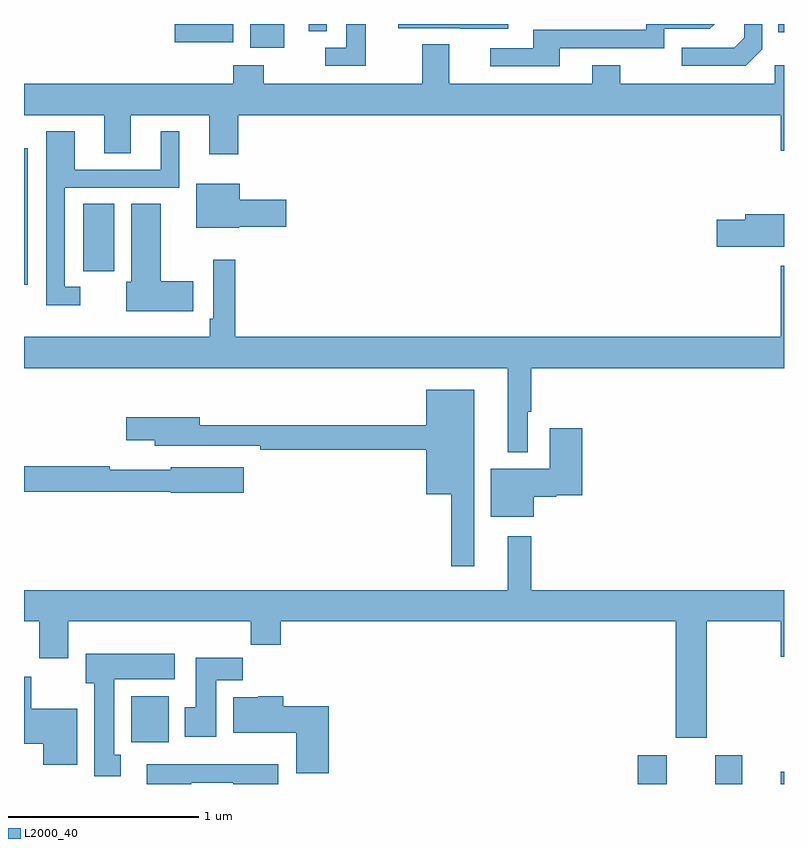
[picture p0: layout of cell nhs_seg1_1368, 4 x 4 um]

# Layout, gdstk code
import gdstk
lib = gdstk.Library(unit=1e-6, precision=1e-09)
def R(c, l, rs):  # rectangles x0, y0, x1, y1
    for r in rs: c.add(gdstk.rectangle(r[:2], r[2:], *l))
def P(c, l, *ps):  # polygons
    for p in ps: c.add(gdstk.Polygon(p, *l))
L2000_40 = (2000, 40)

nhs_seg1_1368 = lib.new_cell('nhs_seg1_1368')
R(nhs_seg1_1368, L2000_40, [(188.231,560.199,188.383,560.35), (188.639,560.199,188.779,560.35), (188.984,560.199,189,560.263), (185.564,560.42,185.761,560.662), (185,562.827,185.02,563.545), (185.312,562.899,185.476,563.252), (186.191,564.074,186.37,564.199), (185.793,564.103,186.102,564.199), (188.971,564.155,189,564.199), (186.498,564.16,186.594,564.199)])
P(nhs_seg1_1368, L2000_40, [(188.886,564.066),(188.886,564.199),(188.79,564.199),(188.79,564.126),(188.739,564.075),(188.463,564.075),(188.463,563.979),(188.799,563.979)],
  [(186.799,564.199),(186.695,564.199),(186.695,564.075),(186.585,564.075),(186.585,563.979),(186.799,563.979)],
  [(187.549,564.199),(186.971,564.199),(186.971,564.177),(187.295,564.177),(187.295,564.173),(187.549,564.173)],
  [(187.819,564.072),(188.37,564.072),(188.37,564.174),(188.61,564.174),(188.635,564.199),(188.274,564.199),(188.274,564.168),(187.679,564.168),(187.679,564.072),(187.455,564.072),(187.455,563.976),(187.819,563.976)],
  [(186.128,563.72),(188.984,563.72),(188.984,563.532),(189,563.532),(189,563.983),(188.952,563.983),(188.952,563.884),(188.139,563.884),(188.139,563.983),(187.991,563.983),(187.991,563.884),(187.237,563.884),(187.237,564.092),(187.097,564.092),(187.097,563.884),(186.261,563.884),(186.261,563.983),(186.101,563.983),(186.101,563.884),(185,563.884),(185,563.72),(185.423,563.72),(185.423,563.518),(185.563,563.518),(185.563,563.72),(185.975,563.72),(185.975,563.514),(186.128,563.514)],
  [(185.296,562.815),(185.214,562.815),(185.214,563.337),(185.818,563.337),(185.818,563.635),(185.72,563.635),(185.72,563.433),(185.266,563.433),(185.266,563.635),(185.118,563.635),(185.118,562.718),(185.296,562.718)],
  [(186.132,563.132),(186.379,563.132),(186.379,563.274),(186.136,563.274),(186.136,563.359),(185.906,563.359),(185.906,563.126),(186.132,563.126)],
  [(185.89,562.846),(185.719,562.846),(185.719,563.252),(185.564,563.252),(185.564,562.842),(185.537,562.842),(185.537,562.688),(185.89,562.688)],
  [(189,563.197),(188.795,563.197),(188.795,563.168),(188.646,563.168),(188.646,563.026),(189,563.026)],
  [(187.651,562.159),(187.669,562.159),(187.669,562.388),(189,562.388),(189,562.927),(188.984,562.927),(188.984,562.552),(186.113,562.552),(186.113,562.957),(185.997,562.957),(185.997,562.648),(185.977,562.648),(185.977,562.552),(185,562.552),(185,562.388),(187.547,562.388),(187.547,561.944),(187.651,561.944)],
  [(187.369,562.273),(187.118,562.273),(187.118,562.087),(185.926,562.087),(185.926,562.129),(185.538,562.129),(185.538,562.007),(185.687,562.007),(185.687,561.978),(186.244,561.978),(186.244,561.958),(187.118,561.958),(187.118,561.725),(187.248,561.725),(187.248,561.345),(187.369,561.345)],
  [(187.684,561.712),(187.8,561.712),(187.8,561.719),(187.937,561.719),(187.937,562.072),(187.766,562.072),(187.766,561.859),(187.457,561.859),(187.457,561.605),(187.684,561.605)],
  [(186.157,561.865),(185.772,561.865),(185.772,561.852),(185.45,561.852),(185.45,561.872),(185,561.872),(185,561.736),(185.772,561.736),(185.772,561.731),(186.157,561.731)],
  [(188.593,561.056),(188.984,561.056),(188.984,560.868),(189,560.868),(189,561.22),(187.669,561.22),(187.669,561.502),(187.547,561.502),(187.547,561.22),(185,561.22),(185,561.056),(185.081,561.056),(185.081,560.862),(185.233,560.862),(185.233,561.056),(186.193,561.056),(186.193,560.932),(186.35,560.932),(186.35,561.056),(188.429,561.056),(188.429,560.442),(188.593,560.442)],
  [(185.509,560.354),(185.476,560.354),(185.476,560.75),(185.794,560.75),(185.794,560.884),(185.324,560.884),(185.324,560.73),(185.369,560.73),(185.369,560.241),(185.509,560.241)],
  [(186.013,560.744),(186.152,560.744),(186.152,560.863),(185.903,560.863),(185.903,560.604),(185.846,560.604),(185.846,560.448),(186.013,560.448)],
  [(185.281,560.596),(185.038,560.596),(185.038,560.764),(185,560.764),(185,560.411),(185.102,560.411),(185.102,560.3),(185.281,560.3)],
  [(186.605,560.608),(186.365,560.608),(186.365,560.662),(186.234,560.662),(186.234,560.656),(186.101,560.656),(186.101,560.468),(186.434,560.468),(186.434,560.256),(186.605,560.256)],
  [(185.881,560.205),(186.101,560.205),(186.101,560.199),(186.337,560.199),(186.337,560.302),(185.645,560.302),(185.645,560.199),(185.881,560.199)])

lib.write_gds('nhs_seg1_1368.gds')
